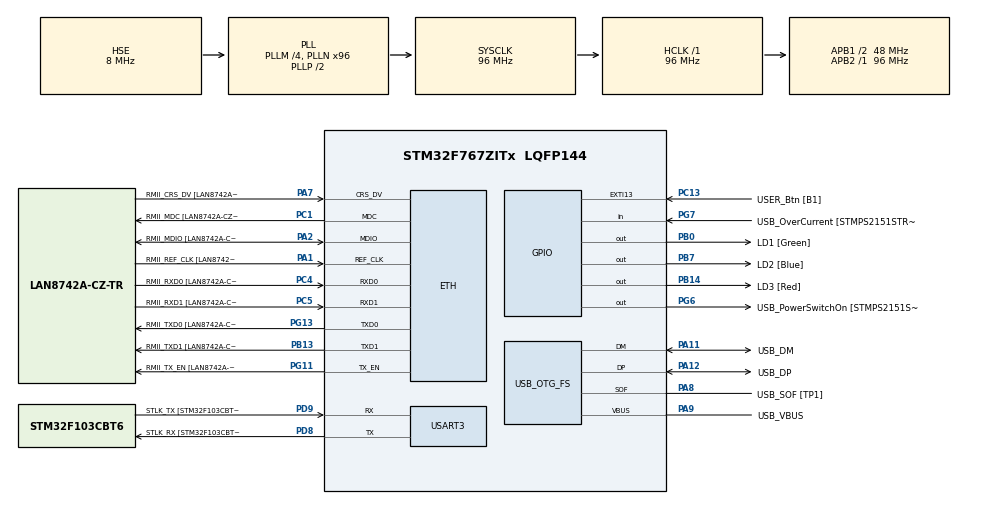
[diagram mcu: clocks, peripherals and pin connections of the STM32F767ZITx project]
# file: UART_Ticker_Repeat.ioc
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ETH.MediaInterface=HAL_ETH_RMII_MODE
ETH.PHY_Name=LAN8742A_PHY_ADDRESS
ETH.PHY_Value=0
ETH.PhyAddress=0
Mcu.Family=STM32F7
Mcu.Name=STM32F767ZITx
Mcu.Package=LQFP144
NVIC.PriorityGroup=NVIC_PRIORITYGROUP_4
NVIC.USART3_IRQn=true\:0\:0\:false\:false\:true\:true\:true\:true
PA1.GPIO_Label=RMII_REF_CLK [LAN8742A-CZ-TR_REFCLK0]
PA1.Mode=RMII
PA1.Signal=ETH_REF_CLK
PA10.GPIO_Label=USB_ID
PA10.Signal=USB_OTG_FS_ID
PA11.GPIO_Label=USB_DM
PA11.Mode=Device_Only
PA11.Signal=USB_OTG_FS_DM
PA12.GPIO_Label=USB_DP
PA12.Mode=Device_Only
PA12.Signal=USB_OTG_FS_DP
PA13.GPIO_Label=TMS
PA13.Mode=Serial_Wire
PA13.Signal=SYS_JTMS-SWDIO
PA14.GPIO_Label=TCK
PA14.Mode=Serial_Wire
PA14.Signal=SYS_JTCK-SWCLK
PA2.GPIO_Label=RMII_MDIO [LAN8742A-CZ-TR_MDIO]
PA2.Mode=RMII
PA2.Signal=ETH_MDIO
PA7.GPIO_Label=RMII_CRS_DV [LAN8742A-CZ-TR_CRS_DV]
PA7.Mode=RMII
PA7.Signal=ETH_CRS_DV
PA8.GPIO_Label=USB_SOF [TP1]
PA8.Mode=Activate_SOF_FS
PA8.Signal=USB_OTG_FS_SOF
PA9.GPIO_Label=USB_VBUS
PA9.Mode=Activate_VBUS
PA9.Signal=USB_OTG_FS_VBUS
PB0.GPIO_Label=LD1 [Green]
PB0.Signal=GPIO_Output
PB13.GPIO_Label=RMII_TXD1 [LAN8742A-CZ-TR_TXD1]
PB13.Mode=RMII
PB13.Signal=ETH_TXD1
PB14.GPIO_Label=LD3 [Red]
PB14.Signal=GPIO_Output
PB3.GPIO_Label=SWO
PB3.Signal=SYS_JTDO-SWO
PB7.GPIO_Label=LD2 [Blue]
PB7.Signal=GPIO_Output
PC1.GPIO_Label=RMII_MDC [LAN8742A-CZ-TR_MDC]
PC1.Mode=RMII
PC1.Signal=ETH_MDC
PC13.GPIO_Label=USER_Btn [B1]
PC13.Signal=GPXTI13
PC14/OSC32_IN.Mode=LSE-External-Oscillator
PC14/OSC32_IN.Signal=RCC_OSC32_IN
PC15/OSC32_OUT.Mode=LSE-External-Oscillator
PC15/OSC32_OUT.Signal=RCC_OSC32_OUT
PC4.GPIO_Label=RMII_RXD0 [LAN8742A-CZ-TR_RXD0]
PC4.Mode=RMII
PC4.Signal=ETH_RXD0
PC5.GPIO_Label=RMII_RXD1 [LAN8742A-CZ-TR_RXD1]
PC5.Mode=RMII
PC5.Signal=ETH_RXD1
PD8.GPIO_Label=STLK_RX [STM32F103CBT6_PA3]
PD8.Mode=Asynchronous
PD8.Signal=USART3_TX
PD9.GPIO_Label=STLK_TX [STM32F103CBT6_PA2]
PD9.Mode=Asynchronous
PD9.Signal=USART3_RX
PG11.GPIO_Label=RMII_TX_EN [LAN8742A-CZ-TR_TXEN]
PG11.Mode=RMII
PG11.Signal=ETH_TX_EN
PG13.GPIO_Label=RMII_TXD0 [LAN8742A-CZ-TR_TXD0]
PG13.Mode=RMII
PG13.Signal=ETH_TXD0
PG6.GPIO_Label=USB_PowerSwitchOn [STMPS2151STR_EN]
PG6.Signal=GPIO_Output
PG7.GPIO_Label=USB_OverCurrent [STMPS2151STR_FAULT]
PG7.Signal=GPIO_Input
PH0/OSC_IN.GPIO_Label=MCO [STM32F103CBT6_PA8]
PH0/OSC_IN.Mode=HSE-External-Clock-Source
PH0/OSC_IN.Signal=RCC_OSC_IN
PH1/OSC_OUT.Mode=HSE-External-Clock-Source
PH1/OSC_OUT.Signal=RCC_OSC_OUT
ProjectManager.HeapSize=0x200
ProjectManager.StackSize=0x400
ProjectManager.TargetToolchain=STM32CubeIDE
RCC.48MHZClocksFreq_Value=24000000
RCC.AHBFreq_Value=96000000
RCC.APB1CLKDivider=RCC_HCLK_DIV2
RCC.APB1Freq_Value=48000000
RCC.APB1TimFreq_Value=96000000
RCC.APB2Freq_Value=96000000
RCC.APB2TimFreq_Value=96000000
RCC.CortexFreq_Value=96000000
RCC.HCLKFreq_Value=96000000
RCC.HSE_VALUE=8000000
RCC.HSI_VALUE=16000000
RCC.PLLM=4
RCC.PLLMUL=RCC_PLL_MUL9
RCC.PLLN=96
RCC.PLLQ=4
RCC.PRESCALERUSB=RCC_USBCLKSOURCE_PLL_DIV1_5
RCC.SYSCLKFreq_VALUE=96000000
RCC.SYSCLKSource=RCC_SYSCLKSOURCE_PLLCLK
RCC.SYSCLKSourceVirtual=RCC_SYSCLKSOURCE_PLLCLK
RCC.USBFreq_Value=48000000
RCC.VCOOutputFreq_Value=192000000
USART3.VirtualMode-Asynchronous=VM_ASYNC
USB_OTG_FS.VirtualMode=Device_Only
board=NUCLEO-F767ZI

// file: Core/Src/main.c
/* USER CODE BEGIN Header */
/**
  ******************************************************************************
  * @file           : main.c
  * @brief          : Main program body
  ******************************************************************************
  * @attention
  *
  * Copyright (c) 2025 STMicroelectronics.
  * All rights reserved.
  *
  * This software is licensed under terms that can be found in the LICENSE file
  * in the root directory of this software component.
  * If no LICENSE file comes with this software, it is provided AS-IS.
  *
  ******************************************************************************
  */
/* USER CODE END Header */
#include "main.h"
#include "string.h"

/* USER CODE BEGIN Includes */
#include <stdbool.h>

/* USER CODE END Includes */

/* USER CODE BEGIN PD */
#define MAX_LEN 100
/* USER CODE END PD */

#if defined ( __ICCARM__ ) /*!< IAR Compiler */
#pragma location=0x2007c000
ETH_DMADescTypeDef  DMARxDscrTab[ETH_RX_DESC_CNT]; /* Ethernet Rx DMA Descriptors */
#pragma location=0x2007c0a0
ETH_DMADescTypeDef  DMATxDscrTab[ETH_TX_DESC_CNT]; /* Ethernet Tx DMA Descriptors */

#elif defined ( __CC_ARM )  /* MDK ARM Compiler */

__attribute__((at(0x2007c000))) ETH_DMADescTypeDef  DMARxDscrTab[ETH_RX_DESC_CNT]; /* Ethernet Rx DMA Descriptors */
__attribute__((at(0x2007c0a0))) ETH_DMADescTypeDef  DMATxDscrTab[ETH_TX_DESC_CNT]; /* Ethernet Tx DMA Descriptors */

#elif defined ( __GNUC__ ) /* GNU Compiler */

ETH_DMADescTypeDef DMARxDscrTab[ETH_RX_DESC_CNT] __attribute__((section(".RxDecripSection"))); /* Ethernet Rx DMA Descriptors */
ETH_DMADescTypeDef DMATxDscrTab[ETH_TX_DESC_CNT] __attribute__((section(".TxDecripSection")));   /* Ethernet Tx DMA Descriptors */
#endif

ETH_TxPacketConfig TxConfig;

ETH_HandleTypeDef heth;

UART_HandleTypeDef huart3;

PCD_HandleTypeDef hpcd_USB_OTG_FS;

void SystemClock_Config(void);
static void MX_GPIO_Init(void);
static void MX_ETH_Init(void);
static void MX_USART3_UART_Init(void);
static void MX_USB_OTG_FS_PCD_Init(void);
/* USER CODE BEGIN PFP */
void HAL_UART_RxCpltCallback(UART_HandleTypeDef *huart);

/* USER CODE END PFP */

/* USER CODE BEGIN 0 */
char rx_buffer[MAX_LEN];
char stored_message[MAX_LEN];
uint8_t idx = 0;
uint8_t rx_byte;
volatile uint8_t repeat_enabled = 0;
bool waiting_for_message = true;

void HAL_UART_RxCpltCallback(UART_HandleTypeDef *huart) {
    if (huart->Instance == USART3) {
        if (rx_byte == '\r' || rx_byte == '\n') {
            if(waiting_for_message){
            	rx_buffer[idx] = '\0';
            	strcpy(stored_message, rx_buffer);  // Store the full message
            	idx = 0;
            	waiting_for_message = false;
            }  // Reset for next input

        } else if (rx_byte == '\t') {
            repeat_enabled = !repeat_enabled; // Toggle repeat
        } else if (rx_byte == '~') {
        	idx = 0;
        	waiting_for_message = true;

        } else if(!repeat_enabled && waiting_for_message && idx < MAX_LEN - 1) {
            rx_buffer[idx++] = rx_byte;
            if (idx >= MAX_LEN) idx = 0;
        }

        // Receive next byte
        HAL_UART_Receive_IT(&huart3, &rx_byte, 1);
    }
}

/* USER CODE END 0 */

int main(void)
{

  /* MCU Configuration--------------------------------------------------------*/

  /* Reset of all peripherals, Initializes the Flash interface and the Systick. */
  HAL_Init();

  /* Configure the system clock */
  SystemClock_Config();

  /* Initialize all configured peripherals */
  MX_GPIO_Init();
  MX_ETH_Init();
  MX_USART3_UART_Init();
  MX_USB_OTG_FS_PCD_Init();
  /* USER CODE BEGIN 2 */
  HAL_UART_Receive_IT(&huart3, &rx_byte, 1);

  /* USER CODE END 2 */

  /* Infinite loop */
  /* USER CODE BEGIN WHILE */
  while (1)
  {
	  if (repeat_enabled) {
	          HAL_UART_Transmit(&huart3, (uint8_t*)stored_message, strlen(stored_message), HAL_MAX_DELAY);
	          HAL_UART_Transmit(&huart3, (uint8_t*)" ", 1, HAL_MAX_DELAY);
	          HAL_Delay(500);  // Delay between repeats
	      }
	  else{
		  HAL_Delay(500);
	  }
    /* USER CODE END WHILE */

  }
}

void SystemClock_Config(void)
{
  RCC_OscInitTypeDef RCC_OscInitStruct = {0};
  RCC_ClkInitTypeDef RCC_ClkInitStruct = {0};

  /** Configure LSE Drive Capability
  */
  HAL_PWR_EnableBkUpAccess();

  /** Configure the main internal regulator output voltage
  */
  __HAL_RCC_PWR_CLK_ENABLE();
  __HAL_PWR_VOLTAGESCALING_CONFIG(PWR_REGULATOR_VOLTAGE_SCALE3);

  /** Initializes the RCC Oscillators according to the specified parameters
  * in the RCC_OscInitTypeDef structure.
  */
  RCC_OscInitStruct.OscillatorType = RCC_OSCILLATORTYPE_HSE;
  RCC_OscInitStruct.HSEState = RCC_HSE_BYPASS;
  RCC_OscInitStruct.PLL.PLLState = RCC_PLL_ON;
  RCC_OscInitStruct.PLL.PLLSource = RCC_PLLSOURCE_HSE;
  RCC_OscInitStruct.PLL.PLLM = 4;
  RCC_OscInitStruct.PLL.PLLN = 96;
  RCC_OscInitStruct.PLL.PLLP = RCC_PLLP_DIV2;
  RCC_OscInitStruct.PLL.PLLQ = 4;
  RCC_OscInitStruct.PLL.PLLR = 2;
  if (HAL_RCC_OscConfig(&RCC_OscInitStruct) != HAL_OK)
  {
    Error_Handler();
  }

  /** Activate the Over-Drive mode
  */
  if (HAL_PWREx_EnableOverDrive() != HAL_OK)
  {
    Error_Handler();
  }

  /** Initializes the CPU, AHB and APB buses clocks
  */
  RCC_ClkInitStruct.ClockType = RCC_CLOCKTYPE_HCLK|RCC_CLOCKTYPE_SYSCLK
                              |RCC_CLOCKTYPE_PCLK1|RCC_CLOCKTYPE_PCLK2;
  RCC_ClkInitStruct.SYSCLKSource = RCC_SYSCLKSOURCE_PLLCLK;
  RCC_ClkInitStruct.AHBCLKDivider = RCC_SYSCLK_DIV1;
  RCC_ClkInitStruct.APB1CLKDivider = RCC_HCLK_DIV2;
  RCC_ClkInitStruct.APB2CLKDivider = RCC_HCLK_DIV1;

  if (HAL_RCC_ClockConfig(&RCC_ClkInitStruct, FLASH_LATENCY_3) != HAL_OK)
  {
    Error_Handler();
  }
}

static void MX_ETH_Init(void)
{

   static uint8_t MACAddr[6];

  heth.Instance = ETH;
  MACAddr[0] = 0x00;
  MACAddr[1] = 0x80;
  MACAddr[2] = 0xE1;
  MACAddr[3] = 0x00;
  MACAddr[4] = 0x00;
  MACAddr[5] = 0x00;
  heth.Init.MACAddr = &MACAddr[0];
  heth.Init.MediaInterface = HAL_ETH_RMII_MODE;
  heth.Init.TxDesc = DMATxDscrTab;
  heth.Init.RxDesc = DMARxDscrTab;
  heth.Init.RxBuffLen = 1524;

  if (HAL_ETH_Init(&heth) != HAL_OK)
  {
    Error_Handler();
  }

  memset(&TxConfig, 0 , sizeof(ETH_TxPacketConfig));
  TxConfig.Attributes = ETH_TX_PACKETS_FEATURES_CSUM | ETH_TX_PACKETS_FEATURES_CRCPAD;
  TxConfig.ChecksumCtrl = ETH_CHECKSUM_IPHDR_PAYLOAD_INSERT_PHDR_CALC;
  TxConfig.CRCPadCtrl = ETH_CRC_PAD_INSERT;

}

static void MX_USART3_UART_Init(void)
{

  huart3.Instance = USART3;
  huart3.Init.BaudRate = 115200;
  huart3.Init.WordLength = UART_WORDLENGTH_8B;
  huart3.Init.StopBits = UART_STOPBITS_1;
  huart3.Init.Parity = UART_PARITY_NONE;
  huart3.Init.Mode = UART_MODE_TX_RX;
  huart3.Init.HwFlowCtl = UART_HWCONTROL_NONE;
  huart3.Init.OverSampling = UART_OVERSAMPLING_16;
  huart3.Init.OneBitSampling = UART_ONE_BIT_SAMPLE_DISABLE;
  huart3.AdvancedInit.AdvFeatureInit = UART_ADVFEATURE_NO_INIT;
  if (HAL_UART_Init(&huart3) != HAL_OK)
  {
    Error_Handler();
  }

}

static void MX_USB_OTG_FS_PCD_Init(void)
{

  hpcd_USB_OTG_FS.Instance = USB_OTG_FS;
  hpcd_USB_OTG_FS.Init.dev_endpoints = 6;
  hpcd_USB_OTG_FS.Init.speed = PCD_SPEED_FULL;
  hpcd_USB_OTG_FS.Init.dma_enable = DISABLE;
  hpcd_USB_OTG_FS.Init.phy_itface = PCD_PHY_EMBEDDED;
  hpcd_USB_OTG_FS.Init.Sof_enable = ENABLE;
  hpcd_USB_OTG_FS.Init.low_power_enable = DISABLE;
  hpcd_USB_OTG_FS.Init.lpm_enable = DISABLE;
  hpcd_USB_OTG_FS.Init.vbus_sensing_enable = ENABLE;
  hpcd_USB_OTG_FS.Init.use_dedicated_ep1 = DISABLE;
  if (HAL_PCD_Init(&hpcd_USB_OTG_FS) != HAL_OK)
  {
    Error_Handler();
  }

}

static void MX_GPIO_Init(void)
{
  GPIO_InitTypeDef GPIO_InitStruct = {0};

  /* GPIO Ports Clock Enable */
  __HAL_RCC_GPIOC_CLK_ENABLE();
  __HAL_RCC_GPIOH_CLK_ENABLE();
  __HAL_RCC_GPIOA_CLK_ENABLE();
  __HAL_RCC_GPIOB_CLK_ENABLE();
  __HAL_RCC_GPIOD_CLK_ENABLE();
  __HAL_RCC_GPIOG_CLK_ENABLE();

  /*Configure GPIO pin Output Level */
  HAL_GPIO_WritePin(GPIOB, LD1_Pin|LD3_Pin|LD2_Pin, GPIO_PIN_RESET);

  /*Configure GPIO pin Output Level */
  HAL_GPIO_WritePin(USB_PowerSwitchOn_GPIO_Port, USB_PowerSwitchOn_Pin, GPIO_PIN_RESET);

  /*Configure GPIO pin : USER_Btn_Pin */
  GPIO_InitStruct.Pin = USER_Btn_Pin;
  GPIO_InitStruct.Mode = GPIO_MODE_IT_RISING;
  GPIO_InitStruct.Pull = GPIO_NOPULL;
  HAL_GPIO_Init(USER_Btn_GPIO_Port, &GPIO_InitStruct);

  /*Configure GPIO pins : LD1_Pin LD3_Pin LD2_Pin */
  GPIO_InitStruct.Pin = LD1_Pin|LD3_Pin|LD2_Pin;
  GPIO_InitStruct.Mode = GPIO_MODE_OUTPUT_PP;
  GPIO_InitStruct.Pull = GPIO_NOPULL;
  GPIO_InitStruct.Speed = GPIO_SPEED_FREQ_LOW;
  HAL_GPIO_Init(GPIOB, &GPIO_InitStruct);

  /*Configure GPIO pin : USB_PowerSwitchOn_Pin */
  GPIO_InitStruct.Pin = USB_PowerSwitchOn_Pin;
  GPIO_InitStruct.Mode = GPIO_MODE_OUTPUT_PP;
  GPIO_InitStruct.Pull = GPIO_NOPULL;
  GPIO_InitStruct.Speed = GPIO_SPEED_FREQ_LOW;
  HAL_GPIO_Init(USB_PowerSwitchOn_GPIO_Port, &GPIO_InitStruct);

  /*Configure GPIO pin : USB_OverCurrent_Pin */
  GPIO_InitStruct.Pin = USB_OverCurrent_Pin;
  GPIO_InitStruct.Mode = GPIO_MODE_INPUT;
  GPIO_InitStruct.Pull = GPIO_NOPULL;
  HAL_GPIO_Init(USB_OverCurrent_GPIO_Port, &GPIO_InitStruct);

}

void Error_Handler(void)
{
  __disable_irq();
  while (1)
  {
  }
}
